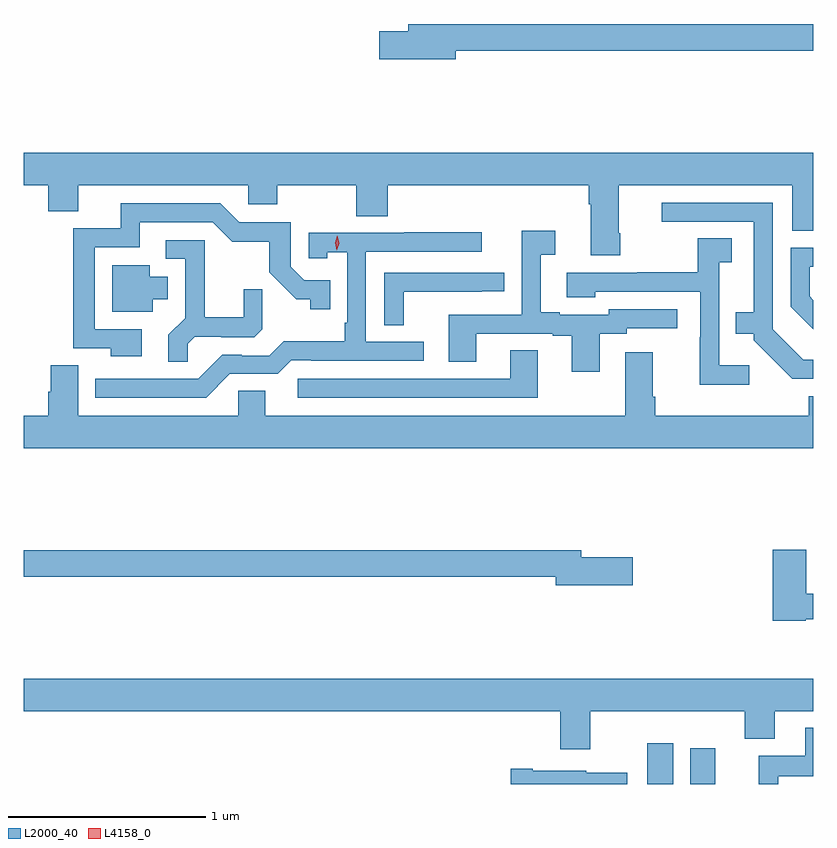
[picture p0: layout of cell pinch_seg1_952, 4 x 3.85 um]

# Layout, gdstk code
import gdstk
lib = gdstk.Library(unit=1e-6, precision=1e-09)
def R(c, l, rs):  # rectangles x0, y0, x1, y1
    for r in rs: c.add(gdstk.rectangle(r[:2], r[2:], *l))
def P(c, l, *ps):  # polygons
    for p in ps: c.add(gdstk.Polygon(p, *l))
L2000_40 = (2000, 40)
L4158_0 = (4158, 0)

pinch_seg1_952 = lib.new_cell('pinch_seg1_952')
R(pinch_seg1_952, L2000_40, [(269.036,576.671,269.167,576.877), (269.255,576.671,269.38,576.853)])
P(pinch_seg1_952, L2000_40, [(268.066,580.384),(269.878,580.384),(269.878,580.52),(267.827,580.52),(267.827,580.484),(267.678,580.484),(267.678,580.342),(268.066,580.342)],
  [(268.899,579.46),(268.891,579.46),(268.891,579.704),(269.771,579.704),(269.771,579.472),(269.878,579.472),(269.878,579.868),(265.878,579.868),(265.878,579.704),(266.003,579.704),(266.003,579.571),(266.155,579.571),(266.155,579.704),(267.015,579.704),(267.015,579.606),(267.162,579.606),(267.162,579.704),(267.562,579.704),(267.562,579.547),(267.722,579.547),(267.722,579.704),(268.739,579.704),(268.739,579.608),(268.751,579.608),(268.751,579.348),(268.899,579.348)],
  [(269.878,578.82),(269.826,578.82),(269.673,578.973),(269.673,579.615),(269.109,579.615),(269.109,579.519),(269.576,579.519),(269.576,579.061),(269.485,579.061),(269.485,578.951),(269.577,578.951),(269.577,578.919),(269.772,578.724),(269.878,578.724)],
  [(266.476,578.973),(266.238,578.973),(266.238,579.39),(266.467,579.39),(266.467,579.516),(266.835,579.516),(266.934,579.418),(267.123,579.418),(267.123,579.262),(267.26,579.125),(267.33,579.125),(267.33,579.075),(267.431,579.075),(267.431,579.222),(267.3,579.222),(267.231,579.291),(267.231,579.516),(266.97,579.516),(266.874,579.612),(266.369,579.612),(266.369,579.486),(266.13,579.486),(266.13,578.877),(266.32,578.877),(266.32,578.837),(266.476,578.837)],
  [(268.795,578.952),(268.932,578.952),(268.932,578.979),(269.188,578.979),(269.188,579.075),(268.842,579.075),(268.842,579.048),(268.594,579.048),(268.594,579.061),(268.498,579.061),(268.498,579.352),(268.57,579.352),(268.57,579.472),(268.401,579.472),(268.401,579.048),(268.031,579.048),(268.031,578.809),(268.171,578.809),(268.171,578.952),(268.559,578.952),(268.559,578.94),(268.655,578.94),(268.655,578.76),(268.795,578.76)],
  [(266.922,578.748),(267.165,578.748),(267.234,578.817),(267.334,578.817),(267.334,578.814),(267.904,578.814),(267.904,578.91),(267.612,578.91),(267.612,579.366),(268.198,579.366),(268.198,579.465),(267.805,579.465),(267.805,579.462),(267.321,579.462),(267.321,579.333),(267.417,579.333),(267.417,579.365),(267.516,579.365),(267.516,579.007),(267.504,579.007),(267.504,578.914),(267.196,578.914),(267.123,578.841),(266.984,578.841),(266.984,578.844),(266.883,578.844),(266.763,578.724),(266.24,578.724),(266.24,578.628),(266.802,578.628)],
  [(269.554,578.791),(269.4,578.791),(269.4,579.313),(269.464,579.313),(269.464,579.434),(269.292,579.434),(269.292,579.264),(268.987,579.264),(268.987,579.261),(268.629,579.261),(268.629,579.137),(268.773,579.137),(268.773,579.165),(269.304,579.165),(269.304,578.933),(269.302,578.933),(269.302,578.693),(269.554,578.693)],
  [(266.709,578.9),(266.746,578.937),(266.88,578.937),(266.88,578.934),(267.045,578.934),(267.086,578.975),(267.086,579.177),(266.992,579.177),(266.992,579.034),(266.795,579.034),(266.795,579.426),(266.598,579.426),(266.598,579.33),(266.697,579.33),(266.697,579.031),(266.611,578.945),(266.611,578.809),(266.709,578.809)],
  [(269.878,579.122),(269.86,579.14),(269.86,579.29),(269.878,579.29),(269.878,579.387),(269.763,579.387),(269.763,579.089),(269.878,578.974)],
  [(266.533,579.125),(266.608,579.125),(266.608,579.241),(266.518,579.241),(266.518,579.298),(266.327,579.298),(266.327,579.062),(266.533,579.062)],
  [(267.804,579.165),(268.199,579.165),(268.199,579.166),(268.312,579.166),(268.312,579.261),(267.705,579.261),(267.705,578.995),(267.804,578.995)],
  [(268.483,578.867),(268.343,578.867),(268.343,578.724),(267.267,578.724),(267.267,578.628),(268.483,578.628)],
  [(269.878,578.635),(269.855,578.635),(269.855,578.536),(269.078,578.536),(269.078,578.632),(269.065,578.632),(269.065,578.857),(268.925,578.857),(268.925,578.536),(267.103,578.536),(267.103,578.663),(266.964,578.663),(266.964,578.536),(266.155,578.536),(266.155,578.792),(266.015,578.792),(266.015,578.658),(266.003,578.658),(266.003,578.536),(265.878,578.536),(265.878,578.372),(269.878,578.372)],
  [(269.838,577.506),(269.878,577.506),(269.878,577.634),(269.842,577.634),(269.842,577.858),(269.672,577.858),(269.672,577.498),(269.838,577.498)],
  [(268.963,577.82),(268.702,577.82),(268.702,577.856),(265.878,577.856),(265.878,577.72),(268.574,577.72),(268.574,577.678),(268.963,577.678)],
  [(268.747,577.04),(269.531,577.04),(269.531,576.899),(269.683,576.899),(269.683,577.04),(269.878,577.04),(269.878,577.204),(265.878,577.204),(265.878,577.04),(268.595,577.04),(268.595,576.846),(268.747,576.846)],
  [(269.7,576.71),(269.878,576.71),(269.878,576.955),(269.837,576.955),(269.837,576.814),(269.602,576.814),(269.602,576.671),(269.7,576.671)],
  [(268.936,576.727),(268.728,576.727),(268.728,576.739),(268.456,576.739),(268.456,576.747),(268.344,576.747),(268.344,576.671),(268.936,576.671)])
P(pinch_seg1_952, L4158_0, [(267.465,579.374),(267.465,579.375),(267.456,579.411),(267.466,579.447),(267.466,579.447),(267.466,579.447),(267.476,579.41),(267.465,579.375)])

lib.write_gds('pinch_seg1_952.gds')
